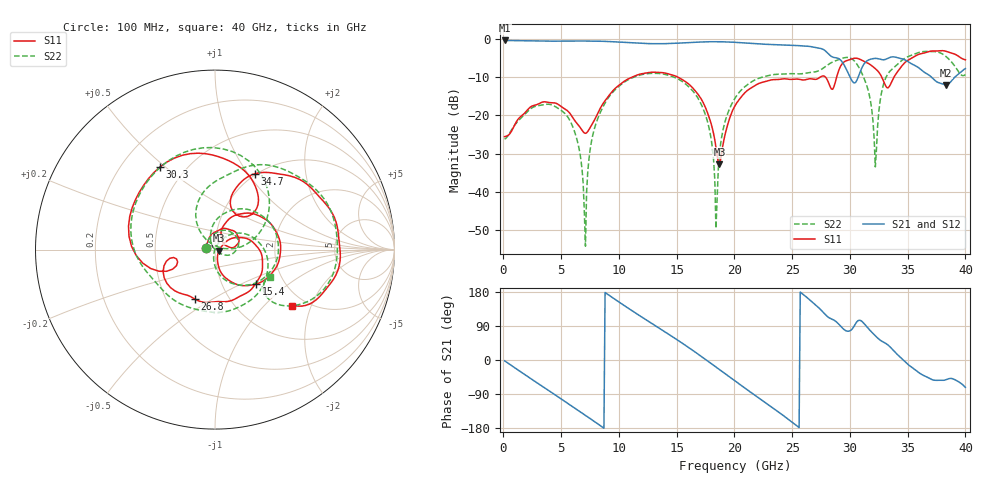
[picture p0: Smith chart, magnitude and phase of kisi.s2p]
! BV_ts_refinout2_std_e35: /TS-PCIe Components/REFINOUT2 via F.Cu→B.Cu at (204.176, 89.904)
! stackup: Thunderscope_Rev5.3 from the board file and its kisi.json
! ports: 1 in, 2 out
! kisi-fdtd, conformal, dfine 0.035 mm, 1189888 cells
# Hz S RI R 50
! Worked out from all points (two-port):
!   400 points, 100 MHz to 40 GHz, reference 50 ohm
!   highest |S21| = -0.44 dB at 100 MHz (marker M1); lowest = -12.0 dB at 38.3 GHz (marker M2)
!   |S21| within 3 dB of the highest: start of sweep to 27.98 GHz
!   lowest |S11| = -32.8 dB at 18.7 GHz (marker M3), VSWR 1.05, Z = 52.2 - j0.7 ohm
!   |S11| at or under -10 dB: start of sweep to 11.15 GHz; 15.09 GHz to 27.44 GHz (12.34 GHz wide, 58 % of centre); 32.75 GHz to 33.82 GHz (1.068 GHz wide, 3.21 % of centre)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
!   |S22| runs from -54.2 to -3.3 dB; largest |S21 - S12| = 0.01
!   S11 on the Smith chart (normalised r, x): 100 MHz: 0.90, +0.02; 15.4 GHz: 1.44, -0.61; 26.8 GHz: 0.69, -0.42; 30.3 GHz: 0.36, +0.48; 34.7 GHz: 0.99, +1.08; 40 GHz: 1.68, -1.48
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1e8  -0.052 0.00896  0.9499 -0.0353  0.9478 -0.0341  -0.0484 0.00668
4.2e9  0.1294 0.0676  0.0593 -0.9289  0.0576 -0.928  0.1322 0.0344
6.8e9  0.0599 0.0228  -0.7142 -0.6036  -0.7144 -0.6038  0.0154 -0.0131
7.1e9  0.0468 0.0347  -0.7752 -0.5216  -0.7756 -0.5213  -0.00136 0.00141
7.4e9  0.0391 0.0519  -0.8275 -0.4339  -0.8272 -0.4332  -0.0153 0.0219
8.3e9  0.0367 0.111  -0.9187 -0.1393  -0.9198 -0.1388  -0.0228 0.0993
1.34e10  0.3632 -0.0262  0.066 0.8596  0.0653 0.859  0.3526 -0.016
1.54e10  0.228 -0.1921  0.6112 0.6341  0.6113 0.6342  0.2061 -0.1926
1.78e10  0.0195 -0.0933  0.911 -0.0829  0.9104 -0.0822  -0.00552 -0.0687
1.84e10  0.0141 -0.0359  0.8684 -0.2909  0.8689 -0.2916  -0.00158 -0.00294
1.87e10  0.0219 -0.0067  0.8279 -0.3907  0.8274 -0.3911  0.0129 0.0277
2.01e10  0.12 0.0673  0.4949 -0.7487  0.4951 -0.749  0.1462 0.0915
2.3e10  0.2639 -0.1099  -0.4144 -0.7357  -0.4156 -0.7351  0.2722 -0.1906
2.67e10  -0.0963 -0.2837  -0.7049 0.3471  -0.7048 0.3406  -0.2593 -0.2571
2.68e10  -0.1115 -0.2761  -0.683 0.3767  -0.6864 0.3708  -0.2745 -0.2429
3.03e10  -0.3062 0.4606  0.0179 0.2677  0.0122 0.2612  0.1888 0.4935
3.17e10  0.169 0.4344  0.0973 0.5264  0.0939 0.5309  0.1757 0.0298
3.22e10  0.2312 0.3358  0.2436 0.498  0.2469 0.4943  0.0147 0.0153
3.34e10  0.0993 0.2146  0.4526 0.3393  0.4511 0.3337  -0.0176 0.3663
3.47e10  0.2234 0.4232  0.5348 -0.0232  0.5284 -0.0247  0.2813 0.4722
3.83e10  0.6729 -0.1429  0.1531 -0.198  0.1586 -0.1997  0.5132 -0.2907
4e10  0.4277 -0.3157  0.1253 -0.3881  0.1187 -0.3866  0.3043 -0.153
